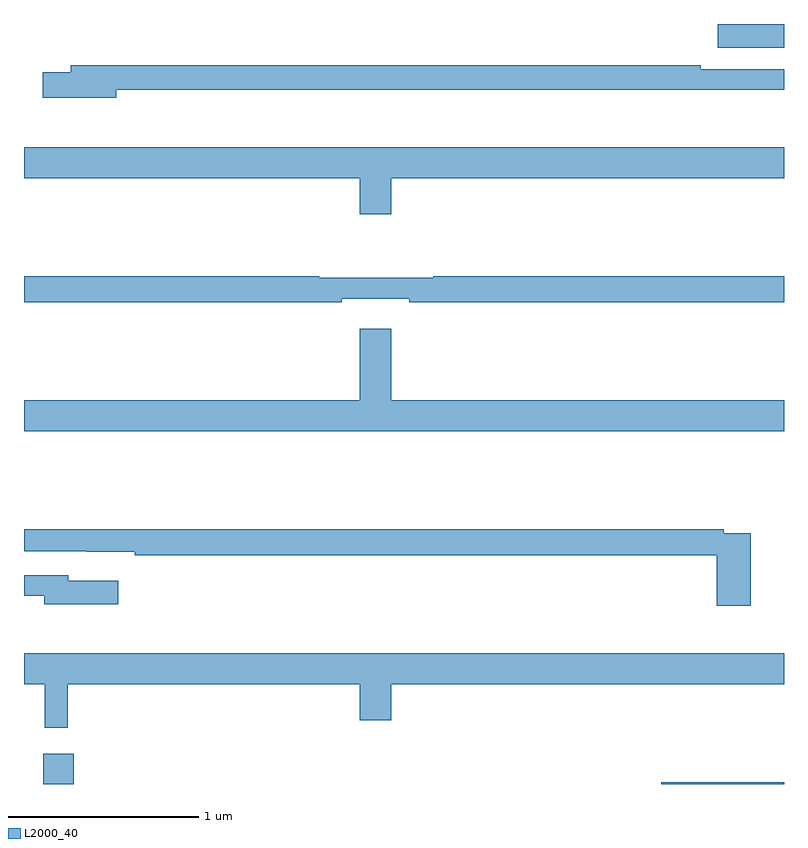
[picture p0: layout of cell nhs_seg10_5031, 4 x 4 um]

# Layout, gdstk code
import gdstk
lib = gdstk.Library(unit=1e-6, precision=1e-09)
def R(c, l, rs):  # rectangles x0, y0, x1, y1
    for r in rs: c.add(gdstk.rectangle(r[:2], r[2:], *l))
def P(c, l, *ps):  # polygons
    for p in ps: c.add(gdstk.Polygon(p, *l))
L2000_40 = (2000, 40)

nhs_seg10_5031 = lib.new_cell('nhs_seg10_5031')
R(nhs_seg10_5031, L2000_40, [(403.1,1258.5,403.262,1258.66), (406.355,1258.5,407,1258.508), (406.65,1262.375,407,1262.5)])
P(nhs_seg10_5031, L2000_40, [(403.486,1262.154),(407,1262.154),(407,1262.262),(406.562,1262.262),(406.562,1262.282),(403.247,1262.282),(403.247,1262.246),(403.098,1262.246),(403.098,1262.111),(403.486,1262.111)],
  [(404.932,1261.688),(407,1261.688),(407,1261.852),(403,1261.852),(403,1261.688),(404.768,1261.688),(404.768,1261.5),(404.932,1261.5)],
  [(404.672,1261.055),(405.028,1261.055),(405.028,1261.036),(407,1261.036),(407,1261.172),(405.155,1261.172),(405.155,1261.165),(404.555,1261.165),(404.555,1261.172),(403,1261.172),(403,1261.036),(404.672,1261.036)],
  [(407,1260.52),(404.932,1260.52),(404.932,1260.895),(404.768,1260.895),(404.768,1260.52),(403,1260.52),(403,1260.356),(407,1260.356)],
  [(406.824,1259.82),(406.682,1259.82),(406.682,1259.84),(403,1259.84),(403,1259.724),(403.33,1259.724),(403.33,1259.723),(403.582,1259.723),(403.582,1259.704),(406.646,1259.704),(406.646,1259.439),(406.824,1259.439)],
  [(403.495,1259.569),(403.234,1259.569),(403.234,1259.598),(403,1259.598),(403,1259.49),(403.106,1259.49),(403.106,1259.447),(403.495,1259.447)],
  [(403.231,1259.024),(404.768,1259.024),(404.768,1258.836),(404.932,1258.836),(404.932,1259.024),(407,1259.024),(407,1259.188),(403,1259.188),(403,1259.024),(403.109,1259.024),(403.109,1258.797),(403.231,1258.797)])

lib.write_gds('nhs_seg10_5031.gds')
